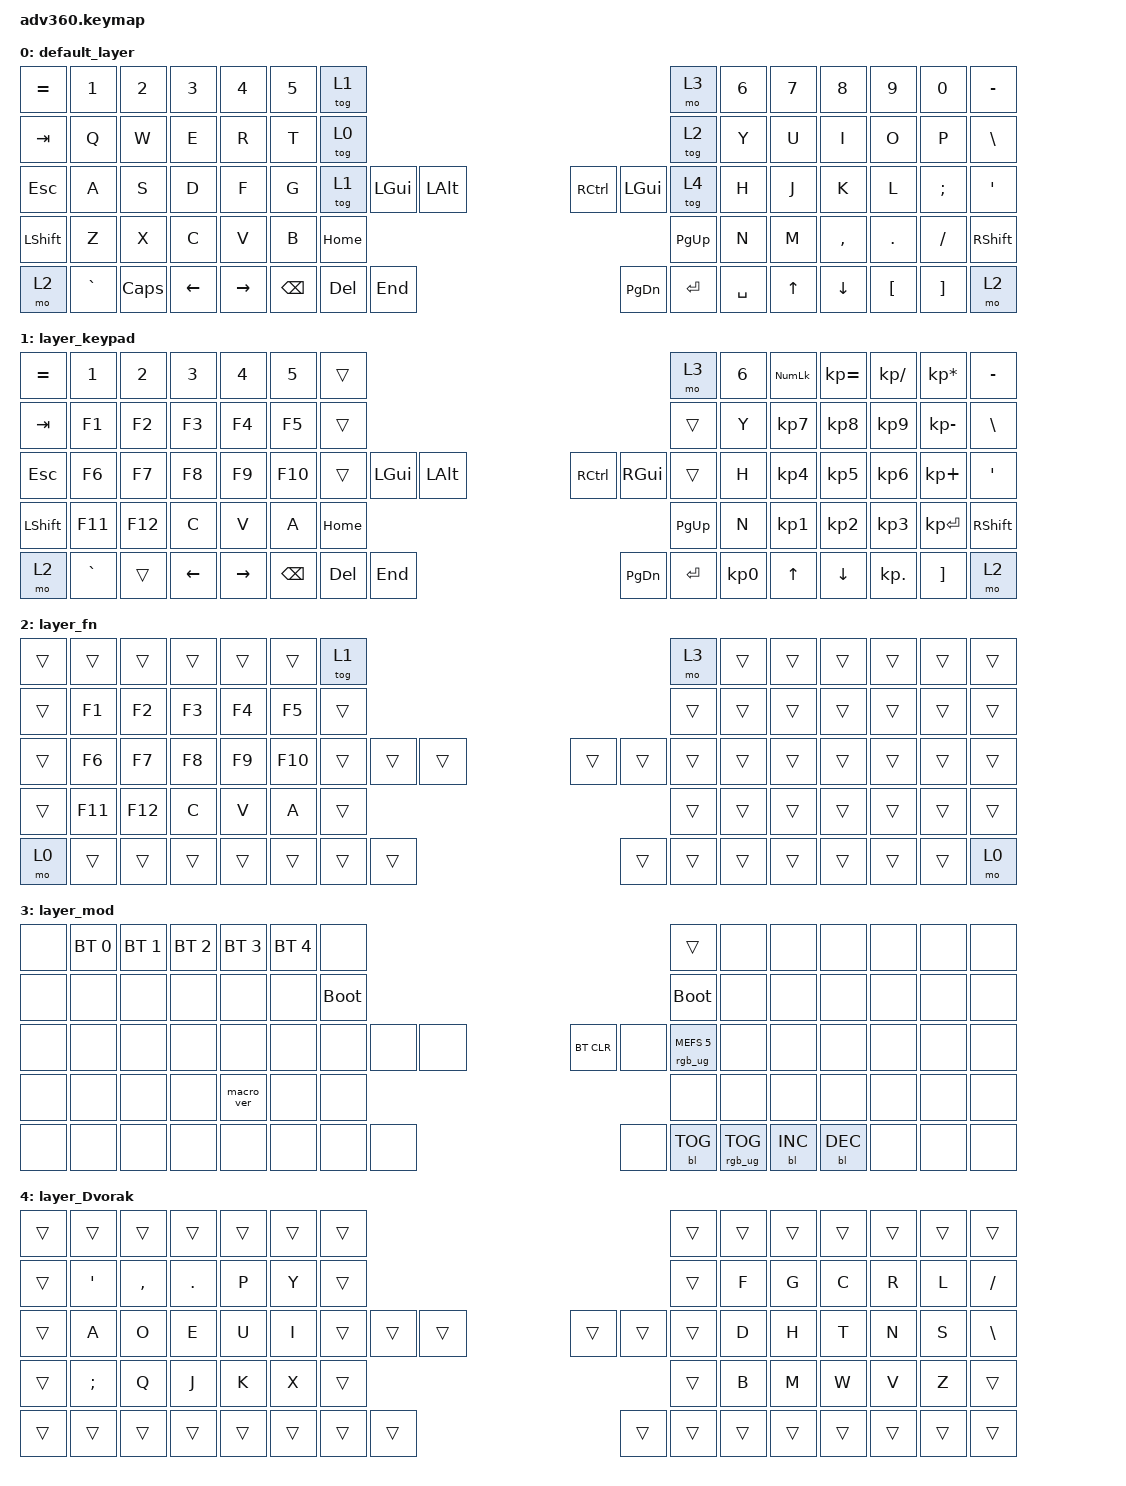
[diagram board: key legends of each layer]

/*
 * Copyright (c) 2020 The ZMK Contributors
 *
 * SPDX-License-Identifier: MIT
 */


/* THIS FILE WAS GENERATED!
 *
 * This file was generated automatically. You may or may not want to
 * edit it directly.
 */

#include <behaviors.dtsi>
#include <dt-bindings/zmk/keys.h>
#include <dt-bindings/zmk/bt.h>
#include <dt-bindings/zmk/rgb.h>
#include <dt-bindings/zmk/backlight.h>

/ {
  behaviors {
    #include "macros.dtsi"
    #include "version.dtsi"

    hm: homerow_mods {
        compatible = "zmk,behavior-hold-tap";
        label = "HOMEROW_MODS";
        #binding-cells = <2>;
        tapping-term-ms = <200>;
        quick_tap_ms = <175>;
        flavor = "tap-preferred";
        bindings = <&kp>, <&kp>;
    };
  };

    keymap {
        compatible = "zmk,keymap";


        default_layer {
            bindings = <
 &kp EQUAL     &kp N1    &kp N2    &kp N3     &kp N4  &kp N5              &tog 1                                                                &mo 3  &kp N6  &kp N7     &kp N8    &kp N9    &kp N0  &kp MINUS
   &kp TAB      &kp Q     &kp W     &kp E      &kp R   &kp T              &tog 0                                                               &tog 2   &kp Y   &kp U      &kp I     &kp O     &kp P   &kp BSLH
   &kp ESC      &kp A     &kp S     &kp D      &kp F   &kp G              &tog 1  &kp LGUI  &kp LALT                  &kp RCTRL   &kp LGUI     &tog 4   &kp H   &kp J      &kp K     &kp L  &kp SEMI    &kp SQT
 &kp LSHFT      &kp Z     &kp X     &kp C      &kp V   &kp B                                &kp HOME                  &kp PG_UP                         &kp N   &kp M  &kp COMMA   &kp DOT  &kp FSLH  &kp RSHFT
     &mo 2  &kp GRAVE  &kp CAPS  &kp LEFT  &kp RIGHT                    &kp BSPC   &kp DEL   &kp END                  &kp PG_DN  &kp ENTER  &kp SPACE          &kp UP   &kp DOWN  &kp LBKT  &kp RBKT      &mo 2
            >;
        };

        layer_keypad {
            bindings = <
 &kp EQUAL     &kp N1   &kp N2    &kp N3     &kp N4   &kp N5              &trans                                                                &mo 3  &kp N6  &kp KP_NUM  &kp KP_EQUAL  &kp KP_DIVIDE  &kp KP_MULTIPLY  &kp MINUS
   &kp TAB     &kp F1   &kp F2    &kp F3     &kp F4   &kp F5              &trans                                                               &trans   &kp Y   &kp KP_N7     &kp KP_N8      &kp KP_N9     &kp KP_MINUS   &kp BSLH
   &kp ESC     &kp F6   &kp F7    &kp F8     &kp F9  &kp F10              &trans  &kp LGUI  &kp LALT                  &kp RCTRL   &kp RGUI     &trans   &kp H   &kp KP_N4     &kp KP_N5      &kp KP_N6      &kp KP_PLUS    &kp SQT
 &kp LSHFT    &kp F11  &kp F12     &kp C      &kp V    &kp A                                &kp HOME                  &kp PG_UP                         &kp N   &kp KP_N1     &kp KP_N2      &kp KP_N3     &kp KP_ENTER  &kp RSHFT
     &mo 2  &kp GRAVE   &trans  &kp LEFT  &kp RIGHT                     &kp BSPC   &kp DEL   &kp END                  &kp PG_DN  &kp ENTER  &kp KP_N0              &kp UP      &kp DOWN     &kp KP_DOT         &kp RBKT      &mo 2
            >;
        };

        layer_fn {
            bindings = <
 &trans   &trans   &trans  &trans  &trans   &trans            &tog 1                                                   &mo 3  &trans  &trans  &trans  &trans  &trans  &trans
 &trans   &kp F1   &kp F2  &kp F3  &kp F4   &kp F5            &trans                                                  &trans  &trans  &trans  &trans  &trans  &trans  &trans
 &trans   &kp F6   &kp F7  &kp F8  &kp F9  &kp F10            &trans  &trans  &trans                  &trans  &trans  &trans  &trans  &trans  &trans  &trans  &trans  &trans
 &trans  &kp F11  &kp F12   &kp C   &kp V    &kp A                            &trans                  &trans                  &trans  &trans  &trans  &trans  &trans  &trans
  &mo 0   &trans   &trans  &trans  &trans                     &trans  &trans  &trans                  &trans  &trans  &trans          &trans  &trans  &trans  &trans   &mo 0
            >;
        };

        layer_mod {
            bindings = <
  &none  &bt BT_SEL 0  &bt BT_SEL 1  &bt BT_SEL 2  &bt BT_SEL 3  &bt BT_SEL 4                  &none                                                                          &trans   &none       &none       &none   &none   &none   &none
  &none         &none         &none         &none         &none         &none            &bootloader                                                                     &bootloader   &none       &none       &none   &none   &none   &none
  &none         &none         &none         &none         &none         &none                  &none   &none   &none                  &bt BT_CLR       &none  &rgb_ug RGB_MEFS_CMD 5   &none       &none       &none   &none   &none   &none
  &none         &none         &none         &none    &macro_ver         &none                                  &none                       &none                                       &none       &none       &none   &none   &none   &none
  &none         &none         &none         &none         &none                                &none   &none   &none                       &none  &bl BL_TOG         &rgb_ug RGB_TOG          &bl BL_INC  &bl BL_DEC   &none   &none   &none
            >;
        };

        layer_Dvorak {
            bindings = <
 &trans            &trans     &trans      &trans  &trans  &trans            &trans                                                  &trans  &trans  &trans  &trans  &trans  &trans    &trans
 &trans  &kp SINGLE_QUOTE  &kp COMMA  &kp PERIOD   &kp P   &kp Y            &trans                                                  &trans   &kp F   &kp G   &kp C   &kp R   &kp L  &kp FSLH
 &trans             &kp A      &kp O       &kp E   &kp U   &kp I            &trans  &trans  &trans                  &trans  &trans  &trans   &kp D   &kp H   &kp T   &kp N   &kp S  &kp BSLH
 &trans     &kp SEMICOLON      &kp Q       &kp J   &kp K   &kp X                            &trans                  &trans                   &kp B   &kp M   &kp W   &kp V   &kp Z    &trans
 &trans            &trans     &trans      &trans  &trans                    &trans  &trans  &trans                  &trans  &trans  &trans          &trans  &trans  &trans  &trans    &trans
            >;
        };

    };
};
